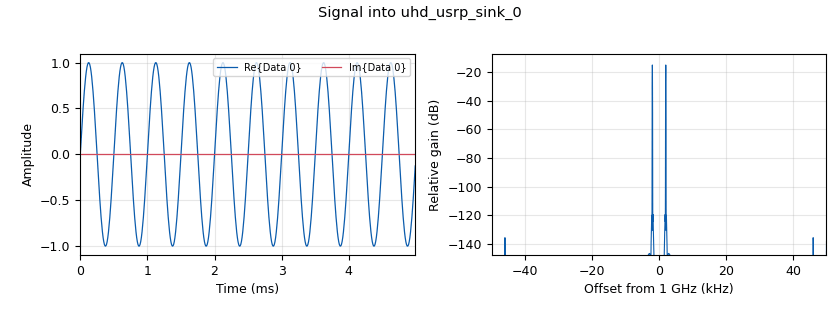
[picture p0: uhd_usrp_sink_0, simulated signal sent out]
<?xml version='1.0' encoding='utf-8'?>
<?grc format='1' created='3.7.13'?>
<flow_graph>
<block>
<key>options</key>
<param><key>id</key><value>top_block</value></param>
<param><key>generate_options</key><value>qt_gui</value></param>
<param><key>title</key><value>SDR TX-RX LOOPBACK TEST</value></param>
</block>
<block>
<key>variable</key>
<param><key>id</key><value>Fc_RF</value></param>
<param><key>value</key><value>1e9</value></param>
</block>
<block>
<key>variable</key>
<param><key>id</key><value>Fs</value></param>
<param><key>value</key><value>100e3</value></param>
</block>
<block>
<key>variable_qtgui_range</key>
<param><key>id</key><value>ant_gain</value></param>
<param><key>value</key><value>10</value></param>
<param><key>label</key><value>TX/RX HW GAIN [dB]</value></param>
<param><key>orient</key><value>Qt.Horizontal</value></param>
<param><key>start</key><value>0</value></param>
<param><key>step</key><value>1</value></param>
<param><key>stop</key><value>30</value></param>
</block>
<block>
<key>variable_qtgui_range</key>
<param><key>id</key><value>freq_sin</value></param>
<param><key>value</key><value>2000</value></param>
<param><key>label</key><value>CENTER FREQ [HZ]</value></param>
<param><key>orient</key><value>Qt.Horizontal</value></param>
<param><key>start</key><value>500</value></param>
<param><key>step</key><value>100</value></param>
<param><key>stop</key><value>10000</value></param>
</block>
<block>
<key>analog_const_source_x</key>
<param><key>id</key><value>analog_const_source_x_0</value></param>
<param><key>const</key><value>0</value></param>
<param><key>type</key><value>float</value></param>
</block>
<block>
<key>analog_sig_source_x</key>
<param><key>id</key><value>analog_sig_source_x_0</value></param>
<param><key>amp</key><value>1</value></param>
<param><key>freq</key><value>freq_sin</value></param>
<param><key>offset</key><value>0</value></param>
<param><key>type</key><value>float</value></param>
<param><key>samp_rate</key><value>Fs</value></param>
<param><key>waveform</key><value>analog.GR_SIN_WAVE</value></param>
</block>
<block>
<key>blocks_float_to_complex</key>
<param><key>id</key><value>blocks_float_to_complex_0</value></param>
</block>
<block>
<key>qtgui_freq_sink_x</key>
<param><key>id</key><value>qtgui_freq_sink_x_0</value></param>
<param><key>bw</key><value>Fs</value></param>
<param><key>fc</key><value>0</value></param>
<param><key>ctrlpanel</key><value>True</value></param>
<param><key>fftsize</key><value>1024</value></param>
<param><key>grid</key><value>True</value></param>
<param><key>label1</key><value>TX</value></param>
<param><key>width1</key><value>2</value></param>
<param><key>label2</key><value>RX</value></param>
<param><key>width2</key><value>2</value></param>
<param><key>nconnections</key><value>2</value></param>
<param><key>showports</key><value>True</value></param>
<param><key>type</key><value>complex</value></param>
<param><key>wintype</key><value>firdes.WIN_BLACKMAN_hARRIS</value></param>
</block>
<block>
<key>uhd_usrp_sink</key>
<param><key>id</key><value>uhd_usrp_sink_0</value></param>
<param><key>ant0</key><value>TX/RX</value></param>
<param><key>center_freq0</key><value>Fc_RF</value></param>
<param><key>norm_gain0</key><value>False</value></param>
<param><key>gain0</key><value>ant_gain</value></param>
<param><key>clock_rate</key><value>0.0</value></param>
<param><key>dev_args</key><value>""</value></param>
<param><key>type</key><value>fc32</value></param>
<param><key>samp_rate</key><value>Fs</value></param>
<param><key>hide_cmd_port</key><value>False</value></param>
<param><key>hide_lo_controls</key><value>True</value></param>
<param><key>sync</key><value></value></param>
<param><key>len_tag_name</key><value></value></param>
</block>
<block>
<key>uhd_usrp_source</key>
<param><key>id</key><value>uhd_usrp_source_0</value></param>
<param><key>ant0</key><value>RX2</value></param>
<param><key>center_freq0</key><value>Fc_RF</value></param>
<param><key>dc_offs_enb0</key><value>""</value></param>
<param><key>iq_imbal_enb0</key><value>""</value></param>
<param><key>norm_gain0</key><value>False</value></param>
<param><key>gain0</key><value>ant_gain</value></param>
<param><key>clock_rate</key><value>0.0</value></param>
<param><key>dev_args</key><value>""</value></param>
<param><key>type</key><value>fc32</value></param>
<param><key>samp_rate</key><value>Fs</value></param>
<param><key>hide_cmd_port</key><value>False</value></param>
<param><key>hide_lo_controls</key><value>True</value></param>
<param><key>sync</key><value></value></param>
</block>
<connection><source_block_id>analog_const_source_x_0</source_block_id><sink_block_id>blocks_float_to_complex_0</sink_block_id><source_key>0</source_key><sink_key>1</sink_key></connection>
<connection><source_block_id>analog_sig_source_x_0</source_block_id><sink_block_id>blocks_float_to_complex_0</sink_block_id><source_key>0</source_key><sink_key>0</sink_key></connection>
<connection><source_block_id>blocks_float_to_complex_0</source_block_id><sink_block_id>qtgui_freq_sink_x_0</sink_block_id><source_key>0</source_key><sink_key>0</sink_key></connection>
<connection><source_block_id>blocks_float_to_complex_0</source_block_id><sink_block_id>uhd_usrp_sink_0</sink_block_id><source_key>0</source_key><sink_key>0</sink_key></connection>
<connection><source_block_id>uhd_usrp_source_0</source_block_id><sink_block_id>qtgui_freq_sink_x_0</sink_block_id><source_key>0</source_key><sink_key>1</sink_key></connection>
</flow_graph>
